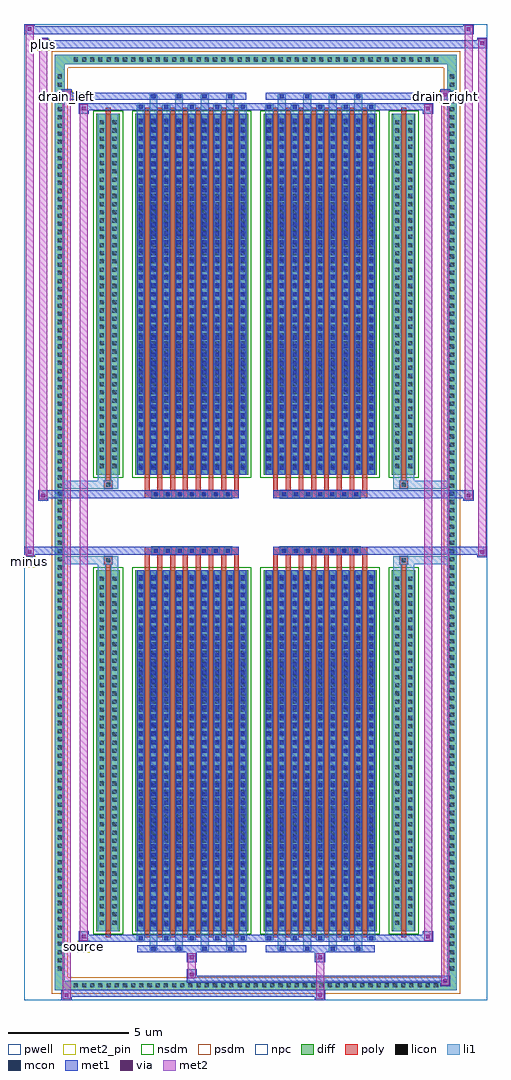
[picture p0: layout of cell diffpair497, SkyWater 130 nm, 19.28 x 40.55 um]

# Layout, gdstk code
import gdstk
lib = gdstk.Library(unit=1e-6, precision=5e-09)
def R(c, l, rs):  # rectangles x0, y0, x1, y1
    for r in rs: c.add(gdstk.rectangle(r[:2], r[2:], *l))
def A(c, l, x, y, w, h, nx, ny, dx, dy):  # array of equal rectangles
    R(c, l, [(x+i*dx, y+j*dy, x+i*dx+w, y+j*dy+h) for i in range(nx) for j in range(ny)])
def P(c, l, *ps):  # polygons
    for p in ps: c.add(gdstk.Polygon(p, *l))
pwell = (64, 44)
diff = (65, 20)
poly = (66, 20)
licon = (66, 44)
li1 = (67, 20)
mcon = (67, 44)
met1 = (68, 20)
via = (68, 44)
met2_pin = (69, 16)
met2 = (69, 20)
nsdm = (93, 44)
psdm = (94, 20)
npc = (95, 20)

diffpair497 = lib.new_cell('diffpair497')
R(diffpair497, pwell, [(-9.62,-19.84,9.62,20.71), (-6.94,-18.03,-0.01,-0.805), (0.01,-18.03,6.94,-0.805), (-6.94,0.805,-0.01,18.03), (0.01,0.805,6.94,18.03)])
A(diffpair497, diff, -7.685, -19.44, 0.41, 0.41, 45, 2, 0.34, 38.47)
A(diffpair497, diff, -8.35, -18.735, 0.41, 0.41, 1, 110, 0, 0.34)
A(diffpair497, diff, 7.94, -18.735, 0.41, 0.41, 1, 110, 0, 0.34)
R(diffpair497, diff, [(-7.685,-19.44,7.685,-19.03), (-8.35,-18.735,-7.94,18.735), (7.94,-18.735,8.35,18.735), (-6.63,-16.985,-5.65,-1.985), (-5.01,-16.985,-0.32,-1.985), (0.32,-16.985,5.01,-1.985), (5.65,-16.985,6.63,-1.985), (-6.63,1.985,-5.65,16.985), (-5.01,1.985,-0.32,16.985), (0.32,1.985,5.01,16.985), (5.65,1.985,6.63,16.985), (-7.685,19.03,7.685,19.44)])
P(diffpair497, diff, [(8.35,19.44),(-8.35,19.44),(-8.35,-19.03),(-7.94,-19.03),(-7.94,19.03),(7.94,19.03),(7.94,-19.03),(-7.94,-19.03),(-8.35,-19.03),(-8.35,-19.44),(8.35,-19.44)])
A(diffpair497, poly, -4.62, -17.235, 0.2, 15.5, 8, 2, 0.53, 18.97)
A(diffpair497, poly, 0.71, -17.235, 0.2, 15.5, 8, 2, 0.53, 18.97)
A(diffpair497, poly, -4.62, -1.735, 0.2, 0.4, 8, 2, 0.53, 3.07)
A(diffpair497, poly, 0.71, -1.735, 0.2, 0.4, 8, 2, 0.53, 3.07)
A(diffpair497, poly, -4.33, -1.335, 0.33, 0.33, 7, 2, 0.5, 2.34)
A(diffpair497, poly, 1, -1.335, 0.33, 0.33, 7, 2, 0.5, 2.34)
R(diffpair497, poly, [(-6.24,-17.235,-6.04,-1.735), (6.04,-17.235,6.24,-1.735), (-6.305,-1.735,-5.975,-1.405), (-6.305,-1.735,-5.975,-1.405), (5.975,-1.735,6.305,-1.405), (5.975,-1.735,6.305,-1.405), (-4.62,-1.335,-0.71,-1.005), (0.71,-1.335,4.62,-1.005), (-4.62,1.005,-0.71,1.335), (0.71,1.005,4.62,1.335), (-6.305,1.405,-5.975,1.735), (-6.305,1.405,-5.975,1.735), (5.975,1.405,6.305,1.735), (5.975,1.405,6.305,1.735), (-6.24,1.735,-6.04,17.235), (6.04,1.735,6.24,17.235)])
A(diffpair497, licon, -7.565, -19.32, 0.17, 0.17, 45, 2, 0.34, 38.47)
A(diffpair497, licon, -8.23, -18.615, 0.17, 0.17, 1, 110, 0, 0.34)
A(diffpair497, licon, 8.06, -18.615, 0.17, 0.17, 1, 110, 0, 0.34)
A(diffpair497, licon, -6.49, -16.71, 0.17, 0.17, 1, 43, 0, 0.34)
A(diffpair497, licon, -5.96, -16.71, 0.17, 0.17, 1, 43, 0, 0.34)
A(diffpair497, licon, -4.87, -16.71, 0.17, 0.17, 9, 43, 0.53, 0.34)
A(diffpair497, licon, 0.46, -16.71, 0.17, 0.17, 9, 43, 0.53, 0.34)
A(diffpair497, licon, 5.79, -16.71, 0.17, 0.17, 1, 43, 0, 0.34)
A(diffpair497, licon, 6.32, -16.71, 0.17, 0.17, 1, 43, 0, 0.34)
A(diffpair497, licon, -4.25, -1.255, 0.17, 0.17, 7, 2, 0.5, 2.34)
A(diffpair497, licon, 1.08, -1.255, 0.17, 0.17, 7, 2, 0.5, 2.34)
A(diffpair497, licon, -6.49, 2.26, 0.17, 0.17, 1, 43, 0, 0.34)
A(diffpair497, licon, -5.96, 2.26, 0.17, 0.17, 1, 43, 0, 0.34)
A(diffpair497, licon, -4.87, 2.26, 0.17, 0.17, 9, 43, 0.53, 0.34)
A(diffpair497, licon, 0.46, 2.26, 0.17, 0.17, 9, 43, 0.53, 0.34)
A(diffpair497, licon, 5.79, 2.26, 0.17, 0.17, 1, 43, 0, 0.34)
A(diffpair497, licon, 6.32, 2.26, 0.17, 0.17, 1, 43, 0, 0.34)
R(diffpair497, licon, [(-6.225,-1.655,-6.055,-1.485), (6.055,-1.655,6.225,-1.485), (-6.225,1.485,-6.055,1.655), (6.055,1.485,6.225,1.655)])
A(diffpair497, li1, -7.645, -19.4, 0.33, 0.33, 45, 2, 0.34, 38.47)
A(diffpair497, li1, -8.31, -18.695, 0.33, 0.33, 1, 110, 0, 0.34)
A(diffpair497, li1, 7.98, -18.695, 0.33, 0.33, 1, 110, 0, 0.34)
A(diffpair497, li1, -4.42, -17.79, 0.33, 0.805, 4, 2, 1.06, 34.775)
A(diffpair497, li1, -4.34, -17.79, 0.17, 0.17, 4, 2, 1.06, 35.41)
A(diffpair497, li1, 0.91, -17.79, 0.33, 0.805, 4, 2, 1.06, 34.775)
A(diffpair497, li1, 0.99, -17.79, 0.17, 0.17, 4, 2, 1.06, 35.41)
A(diffpair497, li1, -4.95, -17.36, 0.33, 0.375, 5, 2, 1.06, 34.345)
A(diffpair497, li1, -4.87, -17.36, 0.17, 0.17, 5, 2, 1.06, 34.55)
A(diffpair497, li1, 0.38, -17.36, 0.33, 0.375, 5, 2, 1.06, 34.345)
A(diffpair497, li1, 0.46, -17.36, 0.17, 0.17, 5, 2, 1.06, 34.55)
A(diffpair497, li1, -4.95, -16.985, 0.33, 15, 9, 2, 0.53, 18.97)
A(diffpair497, li1, 0.38, -16.985, 0.33, 15, 9, 2, 0.53, 18.97)
A(diffpair497, li1, -6.57, -16.79, 0.33, 0.33, 1, 43, 0, 0.34)
A(diffpair497, li1, -6.04, -16.79, 0.33, 0.33, 1, 43, 0, 0.34)
A(diffpair497, li1, -4.95, -16.79, 0.33, 0.33, 9, 43, 0.53, 0.34)
A(diffpair497, li1, 0.38, -16.79, 0.33, 0.33, 9, 43, 0.53, 0.34)
A(diffpair497, li1, 5.71, -16.79, 0.33, 0.33, 1, 43, 0, 0.34)
A(diffpair497, li1, 6.24, -16.79, 0.33, 0.33, 1, 43, 0, 0.34)
A(diffpair497, li1, -4.87, -16.77, 0.17, 0.17, 9, 41, 0.53, 0.36)
A(diffpair497, li1, -4.87, -16.77, 0.17, 14.57, 9, 2, 0.53, 18.97)
A(diffpair497, li1, 0.46, -16.77, 0.17, 0.17, 9, 41, 0.53, 0.36)
A(diffpair497, li1, 0.46, -16.77, 0.17, 14.57, 9, 2, 0.53, 18.97)
A(diffpair497, li1, -4.33, -1.335, 0.33, 0.33, 7, 2, 0.5, 2.34)
A(diffpair497, li1, 1, -1.335, 0.33, 0.33, 7, 2, 0.5, 2.34)
A(diffpair497, li1, -6.57, 2.18, 0.33, 0.33, 1, 43, 0, 0.34)
A(diffpair497, li1, -6.04, 2.18, 0.33, 0.33, 1, 43, 0, 0.34)
A(diffpair497, li1, -4.95, 2.18, 0.33, 0.33, 9, 43, 0.53, 0.34)
A(diffpair497, li1, 0.38, 2.18, 0.33, 0.33, 9, 43, 0.53, 0.34)
A(diffpair497, li1, 5.71, 2.18, 0.33, 0.33, 1, 43, 0, 0.34)
A(diffpair497, li1, 6.24, 2.18, 0.33, 0.33, 1, 43, 0, 0.34)
A(diffpair497, li1, -4.87, 2.2, 0.17, 0.17, 9, 41, 0.53, 0.36)
A(diffpair497, li1, 0.46, 2.2, 0.17, 0.17, 9, 41, 0.53, 0.36)
R(diffpair497, li1, [(-8.35,-19.44,-7.94,-19.03), (-8.35,-19.44,-7.94,-19.03), (-7.94,-19.44,7.94,-19.03), (7.94,-19.44,8.35,-19.03), (7.94,-19.44,8.35,-19.03), (-8.35,-19.03,-7.94,19.03), (7.94,-19.03,8.35,19.03), (-6.57,-16.985,-6.24,-1.985), (-6.04,-16.985,-5.71,-1.985), (5.71,-16.985,6.04,-1.985), (6.24,-16.985,6.57,-1.985), (-6.57,-1.985,-6.24,-1.405), (-6.04,-1.985,-5.71,-1.405), (5.71,-1.985,6.04,-1.405), (6.24,-1.985,6.57,-1.405), (-8.35,-1.735,-6.305,-1.405), (-6.57,-1.735,-6.305,-1.405), (-6.305,-1.735,-5.975,-1.405), (-5.975,-1.735,-5.71,-1.405), (5.71,-1.735,5.975,-1.405), (5.975,-1.735,6.305,-1.405), (5.975,-1.735,8.35,-1.405), (6.305,-1.735,6.57,-1.405), (-8.35,1.405,-6.305,1.735), (-6.57,1.405,-6.305,1.735), (-6.57,1.405,-6.24,1.985), (-6.305,1.405,-5.975,1.735), (-6.04,1.405,-5.71,1.985), (-5.975,1.405,-5.71,1.735), (5.71,1.405,5.975,1.735), (5.71,1.405,6.04,1.985), (5.975,1.405,6.305,1.735), (5.975,1.405,8.35,1.735), (6.24,1.405,6.57,1.985), (6.305,1.405,6.57,1.735), (-6.57,1.985,-6.24,16.985), (-6.04,1.985,-5.71,16.985), (5.71,1.985,6.04,16.985), (6.24,1.985,6.57,16.985), (-8.35,19.03,-7.94,19.44), (-8.35,19.03,-7.94,19.44), (-7.94,19.03,7.94,19.44), (7.94,19.03,8.35,19.44), (7.94,19.03,8.35,19.44)])
A(diffpair497, mcon, -4.34, -17.79, 0.17, 0.17, 4, 2, 1.06, 35.41)
A(diffpair497, mcon, 0.99, -17.79, 0.17, 0.17, 4, 2, 1.06, 35.41)
A(diffpair497, mcon, -4.87, -17.36, 0.17, 0.17, 5, 2, 1.06, 34.55)
A(diffpair497, mcon, 0.46, -17.36, 0.17, 0.17, 5, 2, 1.06, 34.55)
A(diffpair497, mcon, -4.87, -16.77, 0.17, 0.17, 9, 41, 0.53, 0.36)
A(diffpair497, mcon, 0.46, -16.77, 0.17, 0.17, 9, 41, 0.53, 0.36)
A(diffpair497, mcon, -4.25, -1.255, 0.17, 0.17, 7, 2, 0.5, 2.34)
A(diffpair497, mcon, 1.08, -1.255, 0.17, 0.17, 7, 2, 0.5, 2.34)
A(diffpair497, mcon, -4.87, 2.2, 0.17, 0.17, 9, 41, 0.53, 0.36)
A(diffpair497, mcon, 0.46, 2.2, 0.17, 0.17, 9, 41, 0.53, 0.36)
A(diffpair497, met1, -4.4, -17.85, 0.29, 0.29, 4, 2, 1.06, 35.41)
A(diffpair497, met1, 0.93, -17.85, 0.29, 0.29, 4, 2, 1.06, 35.41)
A(diffpair497, met1, -4.93, -17.42, 0.29, 0.29, 5, 2, 1.06, 34.55)
A(diffpair497, met1, 0.4, -17.42, 0.29, 0.29, 5, 2, 1.06, 34.55)
A(diffpair497, met1, -4.93, -16.985, 0.29, 15, 9, 2, 0.53, 18.97)
A(diffpair497, met1, 0.4, -16.985, 0.29, 15, 9, 2, 0.53, 18.97)
A(diffpair497, met1, -4.93, -16.83, 0.29, 0.29, 9, 41, 0.53, 0.36)
A(diffpair497, met1, 0.4, -16.83, 0.29, 0.29, 9, 41, 0.53, 0.36)
A(diffpair497, met1, -4.31, -1.315, 0.29, 0.29, 7, 2, 0.5, 2.34)
A(diffpair497, met1, 1.02, -1.315, 0.29, 0.29, 7, 2, 0.5, 2.34)
A(diffpair497, met1, -4.93, 2.14, 0.29, 0.29, 9, 41, 0.53, 0.36)
A(diffpair497, met1, 0.4, 2.14, 0.29, 0.29, 9, 41, 0.53, 0.36)
R(diffpair497, met1, [(-8.08,-19.84,-7.65,-19.41), (2.45,-19.84,2.88,-19.41), (-8.08,-19.7,2.88,-19.41), (7.65,-19.27,8.08,-18.84), (-2.88,-19.13,8.08,-18.84), (-2.88,-18.99,-2.45,-18.56), (-2.88,-18.28,-2.45,-17.85), (2.45,-18.28,2.88,-17.85), (-4.93,-17.85,-0.4,-17.56), (0.4,-17.85,4.93,-17.56), (-7.37,-17.42,-6.94,-16.99), (-7.37,-17.42,-4.93,-17.13), (-4.93,-17.42,-0.4,-17.13), (-0.4,-17.42,0.4,-17.13), (0.4,-17.42,4.93,-17.13), (4.93,-17.42,7.37,-17.13), (6.94,-17.42,7.37,-16.99), (-9.62,-1.435,-9.19,-1.005), (9.19,-1.435,9.62,-1.005), (-9.62,-1.335,-0.71,-1.005), (-4.62,-1.335,-0.71,-1.005), (0.71,-1.335,4.62,-1.005), (0.71,-1.335,9.62,-1.005), (-9.05,0.905,-8.62,1.335), (8.62,0.905,9.05,1.335), (-9.05,1.005,-4.62,1.335), (-4.62,1.005,-0.71,1.335), (0.71,1.005,4.62,1.335), (4.62,1.005,9.05,1.335), (-7.37,16.99,-6.94,17.42), (6.94,16.99,7.37,17.42), (-7.37,17.13,-4.93,17.42), (-4.93,17.13,-0.4,17.42), (-0.4,17.13,0.4,17.42), (0.4,17.13,4.93,17.42), (4.93,17.13,7.37,17.42), (-8.08,17.56,-7.65,17.99), (-8.08,17.56,-4.93,17.85), (-4.93,17.56,-0.4,17.85), (0.4,17.56,4.93,17.85), (4.93,17.56,8.08,17.85), (7.65,17.56,8.08,17.99), (-9.05,19.71,-8.62,20.14), (-9.05,19.71,-6.94,20.04), (-6.94,19.71,6.94,20.04), (6.94,19.71,9.62,20.04), (9.19,19.71,9.62,20.14), (-9.62,20.28,-9.19,20.71), (-9.62,20.28,-6.94,20.61), (-6.94,20.28,6.94,20.61), (6.94,20.28,9.05,20.61), (8.62,20.28,9.05,20.71)])
R(diffpair497, via, [(-7.94,-19.7,-7.79,-19.55), (2.59,-19.7,2.74,-19.55), (7.79,-19.13,7.94,-18.98), (-2.74,-18.85,-2.59,-18.7), (-2.74,-18.14,-2.59,-17.99), (2.59,-18.14,2.74,-17.99), (-7.23,-17.28,-7.08,-17.13), (7.08,-17.28,7.23,-17.13), (-9.48,-1.295,-9.33,-1.145), (9.33,-1.295,9.48,-1.145), (-8.91,1.045,-8.76,1.195), (8.76,1.045,8.91,1.195), (-7.23,17.13,-7.08,17.28), (7.08,17.13,7.23,17.28), (-7.94,17.7,-7.79,17.85), (7.79,17.7,7.94,17.85), (-8.91,19.85,-8.76,20), (9.33,19.85,9.48,20), (-9.48,20.42,-9.33,20.57), (8.76,20.42,8.91,20.57)])
R(diffpair497, met2_pin, [(-7.405,-17.87,-6.905,-17.37), (-9.655,-1.885,-9.155,-1.385), (-8.115,17.44,-7.615,17.94), (7.615,17.44,8.115,17.94), (-9.085,19.59,-8.585,20.09)])
R(diffpair497, met2, [(-8.03,-19.79,-7.7,-19.46), (-8.03,-19.79,-7.7,17.94), (2.5,-19.79,2.83,-19.46), (2.5,-19.46,2.83,-18.23), (7.7,-19.22,8.03,-18.89), (7.7,-19.22,8.03,17.94), (-2.83,-18.94,-2.5,-18.61), (-2.83,-18.61,-2.5,-18.23), (-2.83,-18.23,-2.5,-17.9), (2.5,-18.23,2.83,-17.9), (-7.32,-17.37,-6.99,-17.04), (-7.32,-17.37,-6.99,17.37), (6.99,-17.37,7.32,-17.04), (6.99,-17.37,7.32,17.37), (-9.57,-1.385,-9.24,-1.055), (-9.57,-1.385,-9.24,20.66), (9.24,-1.385,9.57,-1.055), (9.24,-1.385,9.57,20.09), (-9,0.955,-8.67,1.285), (-9,0.955,-8.67,20.09), (8.67,0.955,9,1.285), (8.67,0.955,9,20.66), (-7.32,17.04,-6.99,17.37), (6.99,17.04,7.32,17.37), (-8.03,17.61,-7.7,17.94), (7.7,17.61,8.03,17.94), (-9,19.76,-8.67,20.09), (9.24,19.76,9.57,20.09), (-9.57,20.33,-9.24,20.66), (8.67,20.33,9,20.66)])
P(diffpair497, met2, [(9.57,-1.385),(9.57,-1.385),(9.57,-1.055),(9.57,-1.055)],
  [(9.57,19.76),(9.57,19.76),(9.57,20.09),(9.57,20.09)],
  [(-9.24,-1.385),(-9.24,-1.385),(-9.24,-1.055),(-9.24,-1.055)],
  [(-9.24,20.33),(-9.24,20.33),(-9.24,20.66),(-9.24,20.66)],
  [(9,0.955),(9,0.955),(9,1.285),(9,1.285)],
  [(9,20.33),(9,20.33),(9,20.66),(9,20.66)],
  [(-8.67,0.955),(-8.67,0.955),(-8.67,1.285),(-8.67,1.285)],
  [(-8.67,19.76),(-8.67,19.76),(-8.67,20.09),(-8.67,20.09)],
  [(-7.7,-19.79),(-7.7,-19.79),(-7.7,-19.46),(-7.7,-19.46)],
  [(-7.7,17.61),(-7.7,17.61),(-7.7,17.94),(-7.7,17.94)],
  [(8.03,-19.22),(8.03,-19.22),(8.03,-18.89),(8.03,-18.89)],
  [(8.03,17.61),(8.03,17.61),(8.03,17.94),(8.03,17.94)],
  [(-6.99,-17.37),(-6.99,-17.37),(-6.99,-17.04),(-6.99,-17.04)],
  [(-6.99,17.04),(-6.99,17.04),(-6.99,17.37),(-6.99,17.37)],
  [(7.32,-17.37),(7.32,-17.37),(7.32,-17.04),(7.32,-17.04)],
  [(7.32,17.04),(7.32,17.04),(7.32,17.37),(7.32,17.37)])
R(diffpair497, nsdm, [(-6.76,-17.115,-5.52,-1.855), (-5.14,-17.115,-0.19,-1.855), (0.19,-17.115,5.14,-1.855), (5.52,-17.115,6.76,-1.855), (-6.76,1.855,-5.52,17.115), (-5.14,1.855,-0.19,17.115), (0.19,1.855,5.14,17.115), (5.52,1.855,6.76,17.115)])
P(diffpair497, psdm, [(8.48,19.57),(-8.48,19.57),(-8.48,-18.9),(-7.81,-18.9),(-7.81,18.9),(7.81,18.9),(7.81,-18.9),(-7.81,-18.9),(-8.48,-18.9),(-8.48,-19.57),(8.48,-19.57)])
A(diffpair497, npc, -4.35, -1.355, 0.37, 0.37, 7, 2, 0.5, 2.34)
A(diffpair497, npc, 0.98, -1.355, 0.37, 0.37, 7, 2, 0.5, 2.34)
R(diffpair497, npc, [(-6.325,-1.755,-5.955,-1.385), (5.955,-1.755,6.325,-1.385), (-4.35,-1.355,-3.48,-0.985), (-4.35,-1.355,-3.48,-0.985), (-3.85,-1.355,-2.98,-0.985), (-3.85,-1.355,-2.98,-0.985), (-3.35,-1.355,-2.48,-0.985), (-3.35,-1.355,-2.48,-0.985), (-2.85,-1.355,-1.98,-0.985), (-2.85,-1.355,-1.98,-0.985), (-2.35,-1.355,-1.48,-0.985), (-2.35,-1.355,-1.48,-0.985), (-1.85,-1.355,-0.98,-0.985), (-1.85,-1.355,-0.98,-0.985), (0.98,-1.355,1.85,-0.985), (0.98,-1.355,1.85,-0.985), (1.48,-1.355,2.35,-0.985), (1.48,-1.355,2.35,-0.985), (1.98,-1.355,2.85,-0.985), (1.98,-1.355,2.85,-0.985), (2.48,-1.355,3.35,-0.985), (2.48,-1.355,3.35,-0.985), (2.98,-1.355,3.85,-0.985), (2.98,-1.355,3.85,-0.985), (3.48,-1.355,4.35,-0.985), (3.48,-1.355,4.35,-0.985), (-4.35,0.985,-3.48,1.355), (-4.35,0.985,-3.48,1.355), (-3.85,0.985,-2.98,1.355), (-3.85,0.985,-2.98,1.355), (-3.35,0.985,-2.48,1.355), (-3.35,0.985,-2.48,1.355), (-2.85,0.985,-1.98,1.355), (-2.85,0.985,-1.98,1.355), (-2.35,0.985,-1.48,1.355), (-2.35,0.985,-1.48,1.355), (-1.85,0.985,-0.98,1.355), (-1.85,0.985,-0.98,1.355), (0.98,0.985,1.85,1.355), (0.98,0.985,1.85,1.355), (1.48,0.985,2.35,1.355), (1.48,0.985,2.35,1.355), (1.98,0.985,2.85,1.355), (1.98,0.985,2.85,1.355), (2.48,0.985,3.35,1.355), (2.48,0.985,3.35,1.355), (2.98,0.985,3.85,1.355), (2.98,0.985,3.85,1.355), (3.48,0.985,4.35,1.355), (3.48,0.985,4.35,1.355), (-6.325,1.385,-5.955,1.755), (5.955,1.385,6.325,1.755)])
diffpair497.add(gdstk.Label('minus', (-9.405,-1.635), layer=69, texttype=5))
diffpair497.add(gdstk.Label('drain_right', (7.865,17.69), layer=69, texttype=5))
diffpair497.add(gdstk.Label('drain_left', (-7.865,17.69), layer=69, texttype=5))
diffpair497.add(gdstk.Label('source', (-7.155,-17.62), layer=69, texttype=5))
diffpair497.add(gdstk.Label('plus', (-8.835,19.84), layer=69, texttype=5))

lib.write_gds('diffpair497.gds')
